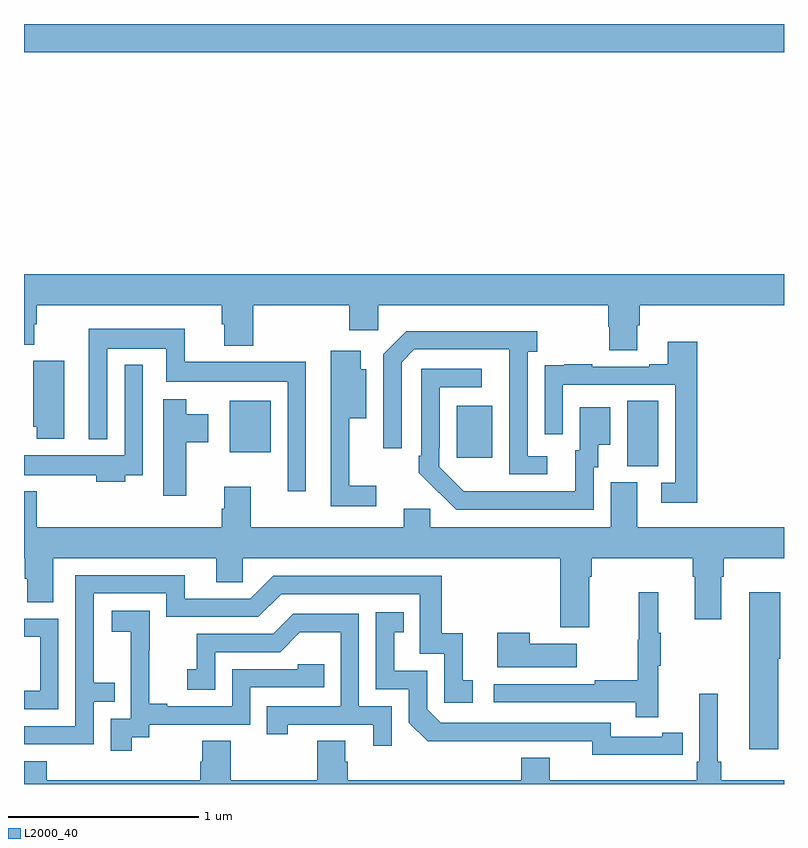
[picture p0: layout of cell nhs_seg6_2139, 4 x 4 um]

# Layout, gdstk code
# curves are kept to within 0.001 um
import gdstk
lib = gdstk.Library(unit=1e-6, precision=1e-09)
def R(c, l, rs):  # rectangles x0, y0, x1, y1
    for r in rs: c.add(gdstk.rectangle(r[:2], r[2:], *l))
def P(c, l, *ps):  # polygons
    for p in ps: c.add(gdstk.Polygon(p, *l))
L2000_40 = (2000, 40)

nhs_seg6_2139 = lib.new_cell('nhs_seg6_2139')
R(nhs_seg6_2139, L2000_40, [(242.174,929.173,242.338,929.516), (241.277,929.217,241.465,929.491), (240.083,929.246,240.298,929.518), (239,931.352,243,931.5)])
P(nhs_seg6_2139, L2000_40, [(239,929.812),(239.053,929.812),(239.053,929.921),(239.066,929.921),(239.066,930.02),(240.041,930.02),(240.041,929.919),(240.053,929.919),(240.053,929.807),(240.206,929.807),(240.206,930.02),(240.713,930.02),(240.713,929.889),(240.864,929.889),(240.864,930.02),(242.075,930.02),(242.075,929.907),(242.08,929.907),(242.08,929.782),(242.227,929.782),(242.227,929.914),(242.24,929.914),(242.24,930.02),(243,930.02),(243,930.184),(239,930.184)],
  [(240.484,929.722),(239.846,929.722),(239.846,929.896),(239.342,929.896),(239.342,929.315),(239.439,929.315),(239.439,929.792),(239.748,929.792),(239.748,929.618),(240.387,929.618),(240.387,929.04),(240.484,929.04)],
  [(241.753,929.226),(241.65,929.226),(241.65,929.774),(241.702,929.774),(241.702,929.884),(241.012,929.884),(240.891,929.763),(240.891,929.268),(240.987,929.268),(240.987,929.721),(241.053,929.787),(241.553,929.787),(241.554,929.13),(241.753,929.13)],
  [(242.543,929.827),(242.387,929.827),(242.387,929.71),(242.291,929.71),(242.291,929.697),(241.991,929.697),(241.991,929.71),(241.843,929.71),(241.843,929.703),(241.741,929.703),(241.741,929.594),(241.74,929.594),(241.74,929.34),(241.836,929.34),(241.836,929.601),(242.427,929.601),(242.427,929.085),(242.355,929.085),(242.355,928.98),(242.543,928.98)],
  [(240.853,929.071),(240.713,929.071),(240.713,929.426),(240.802,929.426),(240.802,929.683),(240.772,929.683),(240.772,929.779),(240.614,929.779),(240.614,928.962),(240.853,928.962)],
  [(239.212,929.727),(239.048,929.727),(239.048,929.379),(239.066,929.379),(239.066,929.316),(239.212,929.316)],
  [(239.533,929.124),(239.625,929.124),(239.625,929.707),(239.529,929.707),(239.529,929.23),(239,929.23),(239,929.126),(239.149,929.126),(239.149,929.124),(239.381,929.124),(239.381,929.09),(239.533,929.09)],
  [(241.998,929.166),(242.023,929.166),(242.023,929.285),(242.086,929.285),(242.086,929.482),(241.925,929.482),(241.925,929.256),(241.901,929.256),(241.901,929.04),(241.314,929.041),(241.185,929.169),(241.185,929.269),(241.188,929.269),(241.188,929.589),(241.408,929.589),(241.408,929.685),(241.092,929.685),(241.092,929.227),(241.077,929.227),(241.077,929.139),(241.274,928.944),(241.998,928.944)],
  [(239.854,929.299),(239.971,929.299),(239.971,929.446),(239.854,929.446),(239.854,929.524),(239.732,929.524),(239.732,929.016),(239.854,929.016)],
  [(242.519,928.592),(242.531,928.592),(242.531,928.368),(242.671,928.368),(242.671,928.592),(242.684,928.592),(242.684,928.688),(243,928.688),(243,928.852),(242.227,928.852),(242.227,929.088),(242.087,929.088),(242.087,928.852),(241.137,928.852),(241.137,928.95),(240.998,928.95),(240.998,928.852),(240.193,928.852),(240.193,929.065),(240.053,929.065),(240.053,928.95),(240.041,928.95),(240.041,928.852),(239.066,928.852),(239.066,929.041),(239,929.041),(239,928.688),(239.003,928.688),(239.003,928.579),(239.016,928.579),(239.016,928.456),(239.155,928.456),(239.155,928.688),(240.011,928.688),(240.011,928.561),(240.15,928.561),(240.15,928.688),(241.823,928.688),(241.823,928.326),(241.975,928.326),(241.975,928.592),(241.988,928.592),(241.988,928.688),(242.519,928.688)],
  [(239.367,927.933),(239.477,927.933),(239.477,928.034),(239.367,928.034),(239.367,928.503),(239.748,928.503),(239.748,928.38),(240.234,928.38),(240.354,928.5),(241.083,928.5),(241.083,928.185),(241.212,928.185),(241.212,927.927),(241.363,927.927),(241.363,928.047),(241.31,928.047),(241.31,928.294),(241.199,928.294),(241.199,928.596),(240.312,928.596),(240.192,928.476),(239.845,928.476),(239.845,928.599),(239.271,928.599),(239.271,927.804),(239,927.804),(239,927.708),(239.367,927.708)],
  [(242.339,928.123),(242.35,928.123),(242.35,928.297),(242.339,928.297),(242.339,928.51),(242.236,928.51),(242.236,928.26),(242.229,928.26),(242.229,928.046),(242.005,928.046),(242.005,928.026),(241.473,928.026),(241.473,927.93),(242.221,927.93),(242.221,927.852),(242.339,927.852)],
  [(242.97,928.158),(242.98,928.158),(242.98,928.51),(242.816,928.51),(242.816,927.684),(242.97,927.684)],
  [(239.566,927.745),(239.658,927.745),(239.658,927.813),(240.192,927.813),(240.192,928.008),(240.581,928.008),(240.581,928.131),(240.441,928.131),(240.441,928.104),(240.096,928.104),(240.096,927.909),(239.755,927.909),(239.755,927.922),(239.66,927.922),(239.66,928.205),(239.661,928.205),(239.661,928.411),(239.463,928.411),(239.463,928.301),(239.561,928.301),(239.561,928.073),(239.562,928.073),(239.562,927.843),(239.457,927.843),(239.457,927.675),(239.566,927.675)],
  [(242.36,927.654),(242.468,927.654),(242.468,927.77),(242.36,927.77),(242.36,927.75),(242.088,927.75),(242.088,927.822),(241.194,927.822),(241.122,927.894),(241.122,928.095),(240.949,928.095),(240.949,928.299),(240.998,928.299),(240.998,928.405),(240.852,928.405),(240.852,927.999),(241.026,927.999),(241.026,927.822),(241.124,927.725),(241.992,927.726),(241.992,927.653)],
  [(240.936,927.909),(240.762,927.909),(240.762,928.395),(240.416,928.395),(240.311,928.29),(239.908,928.29),(239.908,928.105),(239.859,928.105),(239.859,927.996),(240.006,927.996),(240.006,928.194),(240.348,928.194),(240.452,928.298),(240.666,928.298),(240.666,927.909),(240.277,927.909),(240.277,927.762),(240.388,927.762),(240.388,927.813),(240.839,927.813),(240.839,927.702),(240.936,927.702)],
  [(239.181,928.371),(239,928.371),(239,928.275),(239.085,928.275),(239.085,927.99),(239,927.99),(239,927.894),(239.181,927.894)],
  [(241.909,928.237),(241.661,928.237),(241.661,928.297),(241.49,928.297),(241.49,928.115),(241.909,928.115)],
  [(243,927.52),(242.669,927.52),(242.669,927.616),(242.65,927.616),(242.65,927.976),(242.553,927.976),(242.553,927.616),(242.54,927.616),(242.54,927.52),(241.768,927.52),(241.768,927.637),(241.616,927.637),(241.616,927.52),(240.704,927.52),(240.704,927.618),(240.691,927.618),(240.691,927.728),(240.544,927.728),(240.544,927.52),(240.087,927.52),(240.087,927.728),(239.939,927.728),(239.939,927.618),(239.927,927.618),(239.927,927.52),(239.12,927.52),(239.12,927.619),(239,927.619),(239,927.5),(243,927.5)])

lib.write_gds('nhs_seg6_2139.gds')
